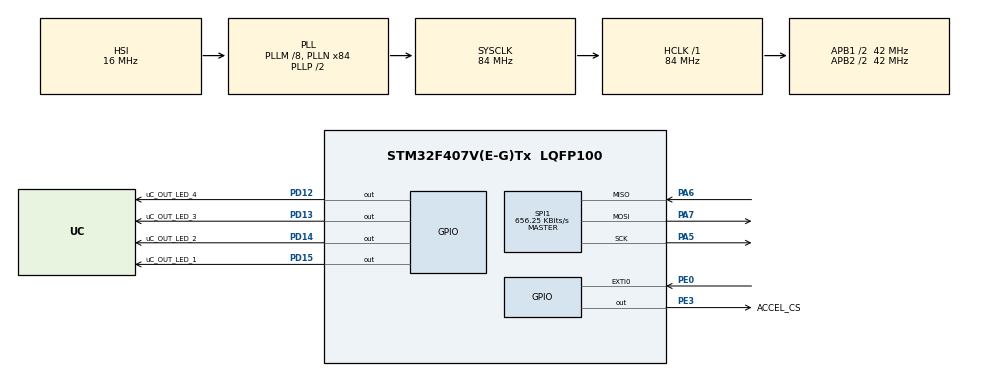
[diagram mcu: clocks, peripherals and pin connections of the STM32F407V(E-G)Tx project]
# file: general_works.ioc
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Mcu.Family=STM32F4
Mcu.Name=STM32F407V(E-G)Tx
Mcu.Package=LQFP100
NVIC.PriorityGroup=NVIC_PRIORITYGROUP_0
NVIC.TIM6_DAC_IRQn=true\:0\:0\:false\:false\:true\:true\:true\:true
PA13.Mode=Serial_Wire
PA13.Signal=SYS_JTMS-SWDIO
PA14.Mode=Serial_Wire
PA14.Signal=SYS_JTCK-SWCLK
PA5.Mode=Full_Duplex_Master
PA5.Signal=SPI1_SCK
PA6.Mode=Full_Duplex_Master
PA6.Signal=SPI1_MISO
PA7.Mode=Full_Duplex_Master
PA7.Signal=SPI1_MOSI
PD12.GPIO_Label=uC_OUT_LED_4
PD12.Signal=GPIO_Output
PD13.GPIO_Label=uC_OUT_LED_3
PD13.Signal=GPIO_Output
PD14.GPIO_Label=uC_OUT_LED_2
PD14.Signal=GPIO_Output
PD15.GPIO_Label=uC_OUT_LED_1
PD15.Signal=GPIO_Output
PE0.Signal=GPXTI0
PE3.GPIO_Label=ACCEL_CS
PE3.PinState=GPIO_PIN_SET
PE3.Signal=GPIO_Output
PH0-OSC_IN.Mode=HSE-External-Oscillator
PH0-OSC_IN.Signal=RCC_OSC_IN
PH1-OSC_OUT.Mode=HSE-External-Oscillator
PH1-OSC_OUT.Signal=RCC_OSC_OUT
ProjectManager.HeapSize=0x200
ProjectManager.StackSize=0x400
ProjectManager.TargetToolchain=CMake
RCC.48MHZClocksFreq_Value=24000000
RCC.AHBFreq_Value=84000000
RCC.APB1CLKDivider=RCC_HCLK_DIV2
RCC.APB1Freq_Value=42000000
RCC.APB1TimFreq_Value=84000000
RCC.APB2CLKDivider=RCC_HCLK_DIV2
RCC.APB2Freq_Value=42000000
RCC.APB2TimFreq_Value=84000000
RCC.CortexFreq_Value=84000000
RCC.HCLKFreq_Value=84000000
RCC.HSE_VALUE=8000000
RCC.HSI_VALUE=16000000
RCC.LSE_VALUE=32768
RCC.PLLM=8
RCC.PLLN=84
RCC.PLLQ=7
RCC.SYSCLKFreq_VALUE=84000000
RCC.SYSCLKSource=RCC_SYSCLKSOURCE_PLLCLK
RCC.VCOOutputFreq_Value=168000000
SPI1.BaudRatePrescaler=SPI_BAUDRATEPRESCALER_64
SPI1.CLKPhase=SPI_PHASE_2EDGE
SPI1.CLKPolarity=SPI_POLARITY_HIGH
SPI1.CalculateBaudRate=656.25 KBits/s
SPI1.Direction=SPI_DIRECTION_2LINES
SPI1.Mode=SPI_MODE_MASTER
SPI1.VirtualType=VM_MASTER
TIM6.Period=999
TIM6.Prescaler=83
VP_TIM6_VS_ClockSourceINT.Mode=Enable_Timer
board=STM32F407G-DISC1

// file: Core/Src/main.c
/* USER CODE BEGIN Header */
/**
 ******************************************************************************
 * @file           : main.c
 * @brief          : Main program body
 ******************************************************************************
 * @attention
 *
 * Copyright (c) 2026 STMicroelectronics.
 * All rights reserved.
 *
 * This software is licensed under terms that can be found in the LICENSE file
 * in the root directory of this software component.
 * If no LICENSE file comes with this software, it is provided AS-IS.
 *
 ******************************************************************************
 */
/* USER CODE END Header */
#include "main.h"

/* USER CODE BEGIN Includes */
#include "lis3dsh.h"
#include "sensor_port.h"
#include "stm32f407xx.h"
#include <math.h> // for fabs() function
/* USER CODE END Includes */

SPI_HandleTypeDef hspi1;

TIM_HandleTypeDef htim6;

/* USER CODE BEGIN PV */
// Sensor Object
Accelerometer_t myAccel;

// SPI Connection Configuration
SPI_Context_t spi_context;
/* USER CODE END PV */

void SystemClock_Config(void);
static void MX_GPIO_Init(void);
static void MX_TIM6_Init(void);
static void MX_SPI1_Init(void);

/* USER CODE BEGIN 0 */
#define SENSOR_READ_TIMER 50
#define LED_TOGGLE_TIMER 200

uint32_t sonSensorOkumaZamani = 0;
uint32_t sonLedZamani = 0;
/* USER CODE END 0 */

int main(void) {

  /* MCU Configuration--------------------------------------------------------*/

  /* Reset of all peripherals, Initializes the Flash interface and the Systick.
   */
  HAL_Init();

  /* Configure the system clock */
  SystemClock_Config();

  /* Initialize all configured peripherals */
  MX_GPIO_Init();
  MX_TIM6_Init();
  MX_SPI1_Init();
  /* USER CODE BEGIN 2 */
  // 1. Set SPI Hardware Configuration
  spi_context.hspi = &hspi1;
  spi_context.cs_port = ACCEL_CS_GPIO_Port;
  spi_context.cs_pin = ACCEL_CS_Pin;

  // 2. Bind Functions and Configuration to Sensor Object
  myAccel.io.write = Sensor_SPI_Write;
  myAccel.io.read = Sensor_SPI_Read;
  myAccel.io.intf_ptr = &spi_context;

  // 3. Initialize Sensor
  if (LIS3DSH_Init(&myAccel) != 0) {
    // Report error by lighting LEDs if initialization fails
    HAL_GPIO_WritePin(GPIOD,
                      uC_OUT_LED_1_Pin | uC_OUT_LED_2_Pin | uC_OUT_LED_3_Pin |
                          uC_OUT_LED_4_Pin,
                      GPIO_PIN_SET);
    Error_Handler();
  }
  /* USER CODE END 2 */

  // Enable Data Ready Interrupt on INT1 (PE0)
  if (LIS3DSH_EnableIT(&myAccel) != 0) {
    Error_Handler();
  }

  /* Infinite loop */
  while (1) {

  }
}

/**
 * @brief SystemClock_Config
 * @retval None
 */
void SystemClock_Config(void) {
  RCC_OscInitTypeDef RCC_OscInitStruct = {0};
  RCC_ClkInitTypeDef RCC_ClkInitStruct = {0};

  /** Configure the main internal regulator output voltage
   */
  __HAL_RCC_PWR_CLK_ENABLE();
  __HAL_PWR_VOLTAGESCALING_CONFIG(PWR_REGULATOR_VOLTAGE_SCALE1);

  /** Initializes the RCC Oscillators according to the specified parameters
   * in the RCC_OscInitTypeDef structure.
   */
  RCC_OscInitStruct.OscillatorType = RCC_OSCILLATORTYPE_HSI;
  RCC_OscInitStruct.HSIState = RCC_HSI_ON;
  RCC_OscInitStruct.HSICalibrationValue = RCC_HSICALIBRATION_DEFAULT;
  RCC_OscInitStruct.PLL.PLLState = RCC_PLL_ON;
  RCC_OscInitStruct.PLL.PLLSource = RCC_PLLSOURCE_HSI;
  RCC_OscInitStruct.PLL.PLLM = 8;
  RCC_OscInitStruct.PLL.PLLN = 84;
  RCC_OscInitStruct.PLL.PLLP = RCC_PLLP_DIV2;
  RCC_OscInitStruct.PLL.PLLQ = 7;
  if (HAL_RCC_OscConfig(&RCC_OscInitStruct) != HAL_OK) {
    Error_Handler();
  }

  /** Initializes the CPU, AHB and APB buses clocks
   */
  RCC_ClkInitStruct.ClockType = RCC_CLOCKTYPE_HCLK | RCC_CLOCKTYPE_SYSCLK |
                                RCC_CLOCKTYPE_PCLK1 | RCC_CLOCKTYPE_PCLK2;
  RCC_ClkInitStruct.SYSCLKSource = RCC_SYSCLKSOURCE_PLLCLK;
  RCC_ClkInitStruct.AHBCLKDivider = RCC_SYSCLK_DIV1;
  RCC_ClkInitStruct.APB1CLKDivider = RCC_HCLK_DIV2;
  RCC_ClkInitStruct.APB2CLKDivider = RCC_HCLK_DIV2;

  if (HAL_RCC_ClockConfig(&RCC_ClkInitStruct, FLASH_LATENCY_2) != HAL_OK) {
    Error_Handler();
  }
}

static void MX_SPI1_Init(void) {

  /* SPI1 parameter configuration*/
  hspi1.Instance = SPI1;
  hspi1.Init.Mode = SPI_MODE_MASTER;
  hspi1.Init.Direction = SPI_DIRECTION_2LINES;
  hspi1.Init.DataSize = SPI_DATASIZE_8BIT;
  hspi1.Init.CLKPolarity = SPI_POLARITY_LOW;
  hspi1.Init.CLKPhase = SPI_PHASE_1EDGE;
  hspi1.Init.NSS = SPI_NSS_SOFT;
  hspi1.Init.BaudRatePrescaler = SPI_BAUDRATEPRESCALER_64;
  hspi1.Init.FirstBit = SPI_FIRSTBIT_MSB;
  hspi1.Init.TIMode = SPI_TIMODE_DISABLE;
  hspi1.Init.CRCCalculation = SPI_CRCCALCULATION_DISABLE;
  hspi1.Init.CRCPolynomial = 10;
  if (HAL_SPI_Init(&hspi1) != HAL_OK) {
    Error_Handler();
  }
}

static void MX_TIM6_Init(void) {

  TIM_MasterConfigTypeDef sMasterConfig = {0};

  htim6.Instance = TIM6;
  htim6.Init.Prescaler = 83;
  htim6.Init.CounterMode = TIM_COUNTERMODE_UP;
  htim6.Init.Period = 999;
  htim6.Init.AutoReloadPreload = TIM_AUTORELOAD_PRELOAD_DISABLE;
  if (HAL_TIM_Base_Init(&htim6) != HAL_OK) {
    Error_Handler();
  }
  sMasterConfig.MasterOutputTrigger = TIM_TRGO_RESET;
  sMasterConfig.MasterSlaveMode = TIM_MASTERSLAVEMODE_DISABLE;
  if (HAL_TIMEx_MasterConfigSynchronization(&htim6, &sMasterConfig) != HAL_OK) {
    Error_Handler();
  }
}

static void MX_GPIO_Init(void) {
  GPIO_InitTypeDef GPIO_InitStruct = {0};

  /* GPIO Ports Clock Enable */
  __HAL_RCC_GPIOE_CLK_ENABLE();
  __HAL_RCC_GPIOH_CLK_ENABLE();
  __HAL_RCC_GPIOA_CLK_ENABLE();
  __HAL_RCC_GPIOD_CLK_ENABLE();

  /*Configure GPIO pin Output Level */
  HAL_GPIO_WritePin(ACCEL_CS_GPIO_Port, ACCEL_CS_Pin, GPIO_PIN_SET);

  /*Configure GPIO pin Output Level */
  HAL_GPIO_WritePin(GPIOD,
                    uC_OUT_LED_4_Pin | uC_OUT_LED_3_Pin | uC_OUT_LED_2_Pin |
                        uC_OUT_LED_1_Pin,
                    GPIO_PIN_RESET);

  /*Configure GPIO pin : ACCEL_CS_Pin */
  GPIO_InitStruct.Pin = ACCEL_CS_Pin;
  GPIO_InitStruct.Mode = GPIO_MODE_OUTPUT_PP;
  GPIO_InitStruct.Pull = GPIO_NOPULL;
  GPIO_InitStruct.Speed = GPIO_SPEED_FREQ_LOW;
  HAL_GPIO_Init(ACCEL_CS_GPIO_Port, &GPIO_InitStruct);

  /*Configure GPIO pins : uC_OUT_LED_4_Pin uC_OUT_LED_3_Pin uC_OUT_LED_2_Pin
   * uC_OUT_LED_1_Pin */
  GPIO_InitStruct.Pin =
      uC_OUT_LED_4_Pin | uC_OUT_LED_3_Pin | uC_OUT_LED_2_Pin | uC_OUT_LED_1_Pin;
  GPIO_InitStruct.Mode = GPIO_MODE_OUTPUT_PP;
  GPIO_InitStruct.Pull = GPIO_NOPULL;
  GPIO_InitStruct.Speed = GPIO_SPEED_FREQ_LOW;
  HAL_GPIO_Init(GPIOD, &GPIO_InitStruct);

}

/* USER CODE BEGIN 4 */

/**
 * @brief  EXTI line detection callbacks.
 * @param  GPIO_Pin Specifies the pins connected EXTI line
 * @retval None
 */
void HAL_GPIO_EXTI_Callback(uint16_t GPIO_Pin) {
  if (GPIO_Pin == GPIO_PIN_0) {
    // Read data directly when PE0 interrupt occurs (New data in Sensor)
    if (LIS3DSH_ReadData(&myAccel) == 0) {

      // Turn off all LEDs initially (Clear previous state)
      HAL_GPIO_WritePin(GPIOD,
                        uC_OUT_LED_1_Pin | uC_OUT_LED_2_Pin | uC_OUT_LED_3_Pin |
                            uC_OUT_LED_4_Pin,
                        GPIO_PIN_RESET);

      // Threshold value (in mg)
      // 1000 mg = 1g (Gravity acceleration). 400 mg is approximately equal to
      // a 20-25 degree tilt.
      const float ESIK_DEGER_MG = 400.0f;

      // Tilt on X Axis (Forward - Backward)
      if (myAccel.x_mg > ESIK_DEGER_MG) {
        // Positive X tilt -> Tilted forward -> Turn on LED_1 (e.g. Orange)
        HAL_GPIO_WritePin(uC_OUT_LED_1_GPIO_Port, uC_OUT_LED_1_Pin,
                          GPIO_PIN_SET);
      } else if (myAccel.x_mg < -ESIK_DEGER_MG) {
        // Negative X tilt -> Tilted backward -> Turn on LED_3 (e.g. Red)
        HAL_GPIO_WritePin(uC_OUT_LED_3_GPIO_Port, uC_OUT_LED_3_Pin,
                          GPIO_PIN_SET);
      }

      // Tilt on Y Axis (Right - Left)
      if (myAccel.y_mg > ESIK_DEGER_MG) {
        // Positive Y tilt -> Tilted right -> Turn on LED_2 (e.g. Green)
        HAL_GPIO_WritePin(uC_OUT_LED_2_GPIO_Port, uC_OUT_LED_2_Pin,
                          GPIO_PIN_SET);
      } else if (myAccel.y_mg < -ESIK_DEGER_MG) {
        // Negative Y tilt -> Tilted left -> Turn on LED_4 (e.g. Blue)
        HAL_GPIO_WritePin(uC_OUT_LED_4_GPIO_Port, uC_OUT_LED_4_Pin,
                          GPIO_PIN_SET);
      }
    }
  }
}

/* USER CODE END 4 */

void Error_Handler(void) {
  /* USER CODE BEGIN Error_Handler_Debug */
  /* User can add his own implementation to report the HAL error return
   * state */
  __disable_irq();
  while (1) {
  }
  /* USER CODE END Error_Handler_Debug */
}
#ifdef USE_FULL_ASSERT
/**
 * @brief  Reports the name of the source file and the source line number
 *         where the assert_param error has occurred.
 * @param  file: pointer to the source file name
 * @param  line: assert_param error line source number
 * @retval None
 */
void assert_failed(uint8_t *file, uint32_t line) {
  /* USER CODE BEGIN 6 */
  /* User can add his own implementation to report the file name and line
     number, ex: printf("Wrong parameters value: file %s on line %d\r\n",
     file, line) */
  /* USER CODE END 6 */
}
#endif /* USE_FULL_ASSERT */
